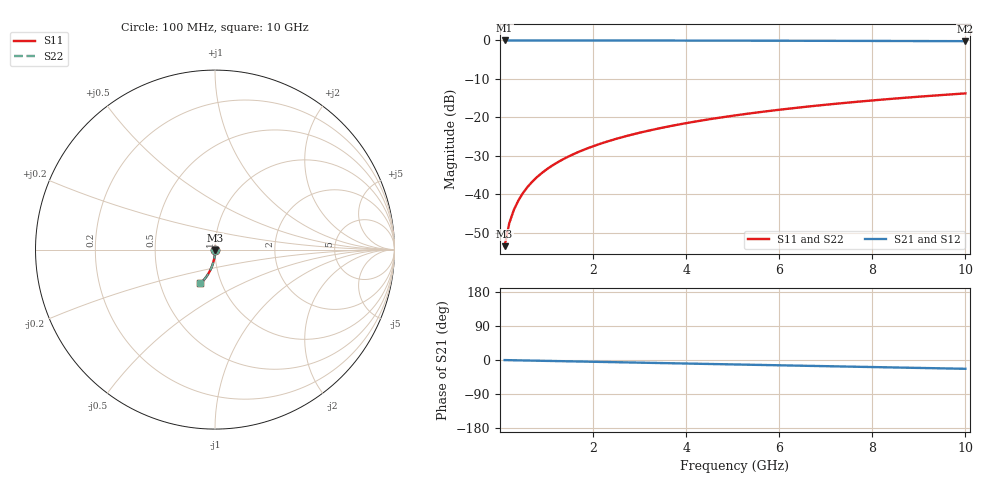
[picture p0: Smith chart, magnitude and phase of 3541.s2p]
# Hz S RI R 50.00
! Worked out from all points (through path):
!   100 points, 100 MHz to 10 GHz, reference 50 ohm
!   highest |S21| = 0.00 dB at 100 MHz (marker M1); lowest = -0.2 dB at 10 GHz (marker M2)
!   group delay of S21, straight-line fit = 6.46 ps
!   lowest |S11| = -53.4 dB at 100 MHz (marker M3), VSWR 1.00, Z = 50 - j0.211 ohm
!   |S11| at or under -10 dB: start of sweep to end of sweep
!   |S22| runs from -53.4 to -13.8 dB; largest |S21 - S12| = 0
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1e8  0.000279 -0.00211  0.9997 -0.00405  0.9997 -0.00405  0.000279 -0.00211
2e8  0.000253 -0.00422  0.9997 -0.0081  0.9997 -0.0081  0.000253 -0.00422
3e8  0.000208 -0.00634  0.9996 -0.0122  0.9996 -0.0122  0.000208 -0.00634
4e8  0.000147 -0.00845  0.9995 -0.0162  0.9995 -0.0162  0.000147 -0.00845
5e8  6.77e-05 -0.0106  0.9994 -0.0203  0.9994 -0.0203  6.77e-05 -0.0106
6e8  -2.85e-05 -0.0127  0.9993 -0.0243  0.9993 -0.0243  -2.85e-05 -0.0127
7e8  -0.000142 -0.0148  0.9992 -0.0284  0.9992 -0.0284  -0.000142 -0.0148
8e8  -0.000273 -0.0169  0.999 -0.0324  0.999 -0.0324  -0.000273 -0.0169
9e8  -0.00042 -0.019  0.9988 -0.0365  0.9988 -0.0365  -0.00042 -0.019
1.1e9  -0.000767 -0.0232  0.9984 -0.0446  0.9984 -0.0446  -0.000767 -0.0232
1.4e9  -0.00142 -0.0295  0.9976 -0.0567  0.9976 -0.0567  -0.00142 -0.0295
1.8e9  -0.00252 -0.0379  0.9963 -0.0729  0.9963 -0.0729  -0.00252 -0.0379
2.1e9  -0.00353 -0.0442  0.995 -0.085  0.995 -0.085  -0.00353 -0.0442
2.5e9  -0.00511 -0.0525  0.9931 -0.1011  0.9931 -0.1011  -0.00511 -0.0525
2.9e9  -0.00697 -0.0608  0.9908 -0.1172  0.9908 -0.1172  -0.00697 -0.0608
3.4e9  -0.00966 -0.0711  0.9875 -0.1372  0.9875 -0.1372  -0.00966 -0.0711
4.2e9  -0.0148 -0.0872  0.9812 -0.169  0.9812 -0.169  -0.0148 -0.0872
5.1e9  -0.0219 -0.105  0.9725 -0.2044  0.9725 -0.2044  -0.0219 -0.105
5.9e9  -0.0292 -0.1203  0.9635 -0.2354  0.9635 -0.2354  -0.0292 -0.1203
6.7e9  -0.0375 -0.135  0.9532 -0.266  0.9532 -0.266  -0.0375 -0.135
8.4e9  -0.0581 -0.1642  0.9275 -0.329  0.9275 -0.329  -0.0581 -0.1642
1e10  -0.0808 -0.1886  0.8989 -0.3855  0.8989 -0.3855  -0.0808 -0.1886
